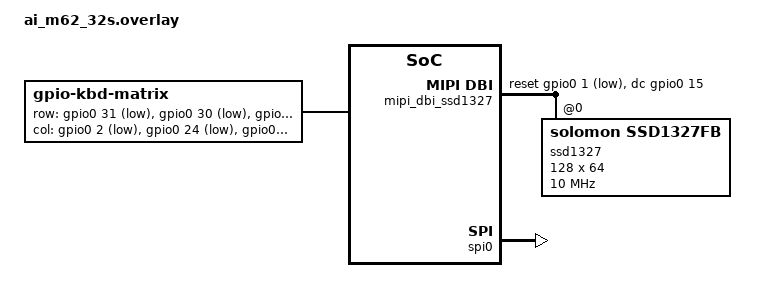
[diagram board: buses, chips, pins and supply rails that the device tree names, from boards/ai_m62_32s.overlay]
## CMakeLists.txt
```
cmake_minimum_required(VERSION 3.20.0)

find_package(Zephyr REQUIRED HINTS $ENV{ZEPHYR_BASE})
project(3d_game_template)

target_sources(app PRIVATE lib/L3.c lib/engine.c src/main.c)

zephyr_syscall_include_directories(include)

zephyr_include_directories(include)
zephyr_include_directories(lib)

zephyr_code_relocate(FILES
lib/L3.c
lib/engine.c
LOCATION RAM NOKEEP)
```

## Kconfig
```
config RESOLUTION_X
	int "Display Width"
	default 256

config RESOLUTION_Y
	int "Display Height"
	default 128

config TARGET_RENDER_FPS
	int "FPS of rendering"
	default 30

config TARGET_PROCESS_FPS
	int "FPS of processing logic"
	default 30

config LOG_PERFORMANCE
	bool "enable logging render times, this can cause render lag"
	default y

config MAX_OBJECTS
	int "Maximum amount of objects"
	default 512

config MAX_LIGHTS
	int "Maximum amount of object lights"
	default 16

rsource "lib/Kconfig"
```

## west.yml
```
manifest:
  remotes:
    - name: zephyrproject-rtos
      url-base: https://github.com/zephyrproject-rtos
    - name: VynDragon
      url-base: https://github.com/VynDragon

  projects:
    - name: zephyr
      remote: zephyrproject-rtos
      revision: main
      import:
        name-allowlist:
          - hal_bouffalolab
          - lvgl
          - cmsis
          - hal_rpi_pico
          - cmsis_6
          - hal_espressif
```

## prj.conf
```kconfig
CONFIG_DISPLAY=y
CONFIG_LOG=y
#CONFIG_LOG_DEFAULT_LEVEL=4
CONFIG_HEAP_MEM_POOL_SIZE=8192
CONFIG_INPUT=y
# PL3D needs a lot of stack! Trap on nrf52840 and pi pico
CONFIG_MAIN_STACK_SIZE=8192
CONFIG_TIMING_FUNCTIONS=y
CONFIG_SPEED_OPTIMIZATIONS=y
CONFIG_LOG_PERFORMANCE=y
CONFIG_TEST_RANDOM_GENERATOR=y
CONFIG_TIMER_RANDOM_GENERATOR=y
CONFIG_GPIO=y
```

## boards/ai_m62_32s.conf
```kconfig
CONFIG_TARGET_PROCESS_FPS=15
CONFIG_TARGET_RENDER_FPS=15
CONFIG_RESOLUTION_X=128
CONFIG_RESOLUTION_Y=64
```

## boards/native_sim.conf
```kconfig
CONFIG_SDL_DISPLAY_DEFAULT_PIXEL_FORMAT_L_8=y
CONFIG_SDL_DISPLAY_ZOOM_PCT=250
#CONFIG_SDL_DISPLAY_ZOOM_PCT=400
#CONFIG_SDL_DISPLAY_DEFAULT_PIXEL_FORMAT_RGB_565=y
CONFIG_RESOLUTION_X=1024
CONFIG_RESOLUTION_Y=768
CONFIG_TARGET_PROCESS_FPS=100
CONFIG_TARGET_RENDER_FPS=120
CONFIG_LOG_PERFORMANCE=n
```

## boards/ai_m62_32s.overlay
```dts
#include <zephyr/dt-bindings/input/keymap.h>

&clk_bclk {
	divider = <4>;
};

&clk_root {
	clocks = <&clk_wifipll BL61X_WIFIPLL_OC_480MHz>;
};

&clk_flash {
		clocks = <&clk_bclk>;
		// clock-invert;
		read-delay = <1>;
		divider = <1>;
		//rx-clock-invert;
};

#include <dt-bindings/pinctrl/bl616x-pinctrl.h>
#include <zephyr/dt-bindings/i2c/i2c.h>
#include <zephyr/dt-bindings/spi/spi.h>
/*
&pinctrl {
	i2c0_default: i2c0_default {
		group1 {
			pinmux = <GPIO14_I2C0_SCL>, <GPIO15_I2C0_SDA>;
			drive-strength = <2>;
			input-schmitt-enable;
		};
	};
};

&i2c0 {
	ssd1327: ssd1327@3c {
		compatible = "solomon,ssd1327fb";
		reg = <0x3c>;
		width = <128>;
		height = <96>;
		prechargep = <0xf>;
		remap-value = <0x53>;
		oscillator-freq = <0x92>;
		display-offset = <0x20>;
		start-line = <0>;
		multiplex-ratio = <0x05f>;
		phase-length = <0x1f>;
		status="okay";
	};
	status = "okay";

	pinctrl-0 = <&i2c0_default>;
	pinctrl-names = "default";
	clock-frequency = <I2C_BITRATE_FAST_PLUS>;
};
*/

&pinctrl {
	spi0_default: spi0_default {
		group1 {
			pinmux = <GPIO11_SPI_MOSI>, <GPIO14_SPI_MISO>, <GPIO13_SPI_SCLK>;
			drive-strength = <1>;
			input-schmitt-enable;
		};
	};
};

/ {

	mipi_dbi_ssd1327 {
		compatible = "zephyr,mipi-dbi-spi";
		spi-dev = <&spi0>;
		dc-gpios = <&gpio0 15 GPIO_ACTIVE_HIGH>;
		reset-gpios = <&gpio0 1 GPIO_ACTIVE_LOW>;
		write-only;
		#address-cells = <1>;
		#size-cells = <0>;

		ssd1327: ssd1327@0 {
			compatible = "solomon,ssd1327fb";
			mipi-max-frequency = <10000000>;
			reg = <0>;
			width = <128>;
			height = <64>;
			prechargep = <0xf>;
			precharge-voltage = <0x7>;
			remap-value = <0x53>;
			oscillator-freq = <0x00>;
			display-offset = <0x40>;
			start-line = <0>;
			multiplex-ratio = <0x3f>;
			phase-length = <0xf1>;
			mipi-mode = "MIPI_DBI_MODE_SPI_4WIRE";
		};
	};
};

&spi0 {
	status = "okay";
	cs-gpios = <&gpio0 20 GPIO_ACTIVE_LOW>;

	pinctrl-0 = <&spi0_default>;
	pinctrl-names = "default";
};


/ {
	chosen {
		zephyr,display = &ssd1327;
	};
};
&gpio0 {
	status = "okay";
};

/ {
	kbd-matrix {
		compatible = "gpio-kbd-matrix";
		row-gpios = <&gpio0 31 (GPIO_PULL_UP | GPIO_ACTIVE_LOW)>,
					<&gpio0 30 (GPIO_PULL_UP | GPIO_ACTIVE_LOW)>,
					<&gpio0 25 (GPIO_PULL_UP | GPIO_ACTIVE_LOW)>,
					<&gpio0 27 (GPIO_PULL_UP | GPIO_ACTIVE_LOW)>,
					<&gpio0 29 (GPIO_PULL_UP | GPIO_ACTIVE_LOW)>;
		col-gpios = <&gpio0 2 GPIO_ACTIVE_LOW>,
					<&gpio0 24 GPIO_ACTIVE_LOW>,
					<&gpio0 28 GPIO_ACTIVE_LOW>,
					<&gpio0 26 GPIO_ACTIVE_LOW>;
		keymap {
			compatible = "input-keymap";
			keymap = <
				MATRIX_KEY(3, 1, INPUT_KEY_W)
				MATRIX_KEY(4, 1, INPUT_KEY_S)
				MATRIX_KEY(4, 0, INPUT_KEY_A)
				MATRIX_KEY(4, 2, INPUT_KEY_D)
				MATRIX_KEY(3, 0, INPUT_KEY_LEFT)
				MATRIX_KEY(3, 2, INPUT_KEY_RIGHT)
				MATRIX_KEY(1, 3, INPUT_KEY_UP)
				MATRIX_KEY(2, 3, INPUT_KEY_DOWN)
				MATRIX_KEY(4, 3, INPUT_KEY_SPACE)
			>;
			row-size = <5>;
			col-size = <4>;
		};
	};
};
```

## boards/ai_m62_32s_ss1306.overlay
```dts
#include <zephyr/dt-bindings/input/keymap.h>

&clk_bclk {
	divider = <4>;
};

&clk_root {
	clocks = <&clk_wifipll BL61X_WIFIPLL_OC_480MHz>;
};

&clk_flash {
		clocks = <&clk_bclk>;
		// clock-invert;
		read-delay = <1>;
		divider = <1>;
		//rx-clock-invert;
};

#include <dt-bindings/pinctrl/bl616x-pinctrl.h>
#include <zephyr/dt-bindings/i2c/i2c.h>

&pinctrl {
	i2c0_default: i2c0_default {
		group1 {
			pinmux = <GPIO14_I2C0_SCL>, <GPIO15_I2C0_SDA>;
			drive-strength = <2>;
			input-schmitt-enable;
		};
	};
};

&i2c0 {
     ssd1315: ssd1315@3c {
		status = "okay";
		compatible = "solomon,ssd1306fb";
		reg = <0x3c>;
		width = <128>;
		height = <64>;
		segment-offset = <0>;
		page-offset = <0>;
		display-offset = <0>;
		multiplex-ratio = <63>;
		segment-remap;
		com-invdir;
		prechargep = <0x22>;
	};
	status = "okay";

	pinctrl-0 = <&i2c0_default>;
	pinctrl-names = "default";
	clock-frequency = <I2C_BITRATE_FAST_PLUS>;
};

/ {
	chosen {
		zephyr,display = &ssd1315;
	};
};
&gpio0 {
	status = "okay";
};

/ {
	kbd-matrix {
		compatible = "gpio-kbd-matrix";
		row-gpios = <&gpio0 31 (GPIO_PULL_UP | GPIO_ACTIVE_LOW)>,
					<&gpio0 30 (GPIO_PULL_UP | GPIO_ACTIVE_LOW)>,
					<&gpio0 25 (GPIO_PULL_UP | GPIO_ACTIVE_LOW)>,
					<&gpio0 27 (GPIO_PULL_UP | GPIO_ACTIVE_LOW)>,
					<&gpio0 29 (GPIO_PULL_UP | GPIO_ACTIVE_LOW)>;
		col-gpios = <&gpio0 2 GPIO_ACTIVE_LOW>,
					<&gpio0 24 GPIO_ACTIVE_LOW>,
					<&gpio0 28 GPIO_ACTIVE_LOW>,
					<&gpio0 26 GPIO_ACTIVE_LOW>;
		keymap {
			compatible = "input-keymap";
			keymap = <
				MATRIX_KEY(3, 1, INPUT_KEY_W)
				MATRIX_KEY(4, 1, INPUT_KEY_S)
				MATRIX_KEY(4, 0, INPUT_KEY_A)
				MATRIX_KEY(4, 2, INPUT_KEY_D)
				MATRIX_KEY(3, 0, INPUT_KEY_LEFT)
				MATRIX_KEY(3, 2, INPUT_KEY_RIGHT)
			>;
			row-size = <5>;
			col-size = <4>;
		};
	};
};
```

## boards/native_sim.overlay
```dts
&sdl_dc {
	compatible = "zephyr,sdl-dc";
	height = <512>;
	width = <1024>;
};

/ {
soc {
evdev {
  compatible = "zephyr,native-linux-evdev";
};
};
};
```

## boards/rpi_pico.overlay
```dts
/*

/ {
	chosen {
		zephyr,display = &ssd1363;
	};

};

&i2c0 {
	status = "okay";
	clock-frequency = <I2C_BITRATE_FAST_PLUS>;

	ssd1363: ssd1363@3c {
		compatible = "solomon,ssd1363";
		reg = <0x3c>;
		width = <256>;
		height = <128>;
		precharge-period = <0x8>;
		remap-value = <0x3200>;
		oscillator-freq = <0x30>;
		display-offset = <0x20>;
		column-offset = <32>;
		start-line = <0>;
		multiplex-ratio = <127>;
		phase-length = <0x74>;
		precharge-voltage = <0xc>;
		#greyscale-enhancement;
		greyscale-table = [02 04 05 06 07 08 09 0C 10 12 14 16 1E 24 2A];
		#inversion-on;
	};
};
*/

/ {
	chosen {
		zephyr,display = &ssd1322;
	};

};

/ {

	mipi_dbi_ssd1322 {
		compatible = "zephyr,mipi-dbi-spi";
		spi-dev = <&spi0>;
		dc-gpios = <&gpio0 21 GPIO_ACTIVE_HIGH>;
		reset-gpios = <&gpio0 20 GPIO_ACTIVE_LOW>;
		write-only;
		#address-cells = <1>;
		#size-cells = <0>;

		ssd1322: ssd1322@0 {
			compatible = "solomon,ssd1322";
			mipi-max-frequency = <10000000>;
			reg = <0>;
			oscillator-freq = <0x92>;
			width = <256>;
			height = <64>;
			column-offset=<28>;
			row-offset=<0>;
			start-line = <0>;
			mux-ratio = <63>;
			vcomh-voltage = <0x7>;
			precharge-voltage = <0x1e>;
			phase-length = <0xe2>;
			mipi-mode = "MIPI_DBI_MODE_SPI_4WIRE";
			remap-nibble;
			remap-columns;
			greyscale-enhancement;
		};
	};
};

&spi0 {
	status = "okay";
	//cs-gpios = <&gpio0 20 GPIO_ACTIVE_LOW>;
};
```

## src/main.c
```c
#include <zephyr/kernel.h>
#include <zephyr/device.h>
#include <zephyr/drivers/display.h>
#include <zephyr/input/input.h>
#include <zephyr/timing/timing.h>
#include <stdio.h>
#include <stdlib.h>
#include <zephyr/random/random.h>
#include <math.h>

#include <zephyr/logging/log.h>
LOG_MODULE_REGISTER(main);

#define ENGINE_BLIT_FUNCTION blit_display

#include "engine.h"

#include "demo.h"

static const struct device *display_device = DEVICE_DT_GET(DT_CHOSEN(zephyr_display));

int blit_display(L3_COLORTYPE *buffer, uint16_t size_x, uint16_t size_y)
{
	struct display_buffer_descriptor buf_desc;
	buf_desc.buf_size = size_x * size_y;
	//uint8_t buf[128] = {0};
	//buf_desc.buf_size = size_x * size_y / 8 / 8;
	buf_desc.width = size_x;
	buf_desc.height = size_y;
	buf_desc.pitch = size_x;

	/*for (int j = 0; j < size_y; j+= 8) {
		for (int i = 0; i < size_x; i++) {
			buf[i] = buffer[i + (j + 0) * size_x] > 128 ? buf[i] | 1<<0 : buf[i] & ~(1<<0);
			buf[i] = buffer[i + (j + 1) * size_x] > 128 ? buf[i] | 1<<1 : buf[i] & ~(1<<1);
			buf[i] = buffer[i + (j + 2) * size_x] > 128 ? buf[i] | 1<<2 : buf[i] & ~(1<<2);
			buf[i] = buffer[i + (j + 3) * size_x] > 128 ? buf[i] | 1<<3 : buf[i] & ~(1<<3);
			buf[i] = buffer[i + (j + 4) * size_x] > 128 ? buf[i] | 1<<4 : buf[i] & ~(1<<4);
			buf[i] = buffer[i + (j + 5) * size_x] > 128 ? buf[i] | 1<<5 : buf[i] & ~(1<<5);
			buf[i] = buffer[i + (j + 6) * size_x] > 128 ? buf[i] | 1<<6 : buf[i] & ~(1<<6);
			buf[i] = buffer[i + (j + 7) * size_x] > 128 ? buf[i] | 1<<7 : buf[i] & ~(1<<7);
		}
		display_write(display_device, 0, j, &buf_desc, buf);
	}*/



	display_write(display_device, 0, 0, &buf_desc, buffer);
	return 0;
}

static int flip = 1;
void do_move(Engine_Object *self, void* data) {
	self->visual.transform.translation.z += *(int*)data;
	if (self->visual.transform.translation.z > 200)
		*(int*)data = -*(int*)data;
	if (self->visual.transform.translation.z < 64)
		*(int*)data = -*(int*)data;
}

static void do_rotate_1(Engine_Object *self, void *data) {
	self->visual.transform.rotation.y += 1;
}

static void do_rotate_2(Engine_Object *self, void *data) {
	self->visual.transform.rotation.x += 1;
}

static void do_rotate_3(Engine_Object *self, void *data) {
	self->visual.transform.rotation.z += 1;
}

typedef struct {
	L3_Unit vx;
	L3_Unit vy;
	L3_Unit z;
	L3_Unit x;
	L3_Unit jump;
} Controls;

static Engine_Object* player = 0;
static L3_Vec4 player_colpoint[2] = {{.x = 0, .y = 0, .z = 0, .w = L3_F }, {.x = 0, .y = L3_F, .z = 0, .w = L3_F }};
static Controls controls = {0};
static E_Collider collider_test[7][1] = {0};
static Engine_Collisions collision_test[7] = {0};

static void process() {
	if (player != 0) {
		player->visual.transform.rotation.y += controls.vy;
		player->visual.transform.rotation.x += controls.vx;
		L3_Unit x = (controls.z * L3_cos(player->visual.transform.rotation.y + L3_F/4)) / L3_F;
		L3_Unit z = (controls.z * L3_sin(player->visual.transform.rotation.y + L3_F/4)) / L3_F;
		x -= (controls.x * L3_cos(player->visual.transform.rotation.y)) / L3_F;
		z -= (controls.x * L3_sin(player->visual.transform.rotation.y)) / L3_F;


		engine_dynamic_objects[0].physics.speeds.translation.z += z;
		engine_dynamic_objects[0].physics.speeds.translation.x += x;
		engine_dynamic_objects[0].physics.speeds.translation.x *= 0.85;
		engine_dynamic_objects[0].physics.speeds.translation.z *= 0.85;
		engine_dynamic_objects[0].physics.speeds.translation.y *= 0.95;
		//engine_dynamic_objects[0].physics.speeds.translation.x -= 1;
		//player->visual.transform.translation.z += z;
		//player->visual.transform.translation.x += x;
		engine_dynamic_objects[0].physics.speeds.translation.y -= E_SPEED(5*L3_F);

		engine_dynamic_objects[0].physics.speeds.translation.y += controls.jump;

		L3_Camera *camera = engine_getcamera();
		camera->transform = player->visual.transform;
		camera->transform.translation.y += L3_F;
		//printf("ppos: %d, %d, %d\n", player->visual.transform.translation.x, player->visual.transform.translation.y, player->visual.transform.translation.z);
	}
}

static void update_controls(struct input_event *evt, void *user_data)
{
	Controls *cont = user_data;

	if (evt->code == INPUT_KEY_UP) {
		if (evt->value)
			cont->vx = 5;
		else
			cont->vx = 0;
	} else if (evt->code == INPUT_KEY_DOWN) {
		if (evt->value)
			cont->vx = -5;
		else
			cont->vx = 0;
	}
	if (evt->code == INPUT_KEY_LEFT) {
		if (evt->value)
			cont->vy = 15;
		else
			cont->vy = 0;
	} else if (evt->code == INPUT_KEY_RIGHT) {
		if (evt->value)
			cont->vy = -15;
		else
			cont->vy = 0;
	}
	if (evt->code == INPUT_KEY_W) {
		if (evt->value)
			cont->z = E_SPEED(3*L3_F);
		else
			cont->z = 0;
	} else if (evt->code == INPUT_KEY_S) {
		if (evt->value)
			cont->z = -E_SPEED(3*L3_F);
		else
			cont->z = 0;
	}

	if (evt->code == INPUT_KEY_A) {
		if (evt->value)
			cont->x = E_SPEED(3*L3_F);
		else
			cont->x = 0;
	} else if (evt->code == INPUT_KEY_D) {
		if (evt->value)
			cont->x = -E_SPEED(3*L3_F);
		else
			cont->x = 0;
	}

	if (evt->code == INPUT_KEY_SPACE) {
		if (evt->value)
			cont->jump = E_SPEED(15*L3_F);
		else
			cont->jump = 0;
	}
}

INPUT_CALLBACK_DEFINE(0, update_controls, &controls);

int main()
{
	if (!device_is_ready(display_device)) {
		printf("Display device not ready");
		return 0;
	}

	timing_init();
	timing_start();

	k_msleep(100);
	display_blanking_on(display_device);
	//display_set_pixel_format(display_device, PIXEL_FORMAT_L_8);
	display_blanking_off(display_device);

	init_engine(&process);

	/* 'player' object */
	Engine_Object tmp = {0};
	L3_transform3DSet(5 * L3_F,0,0,0,-80,0,L3_F,L3_F,L3_F,&(tmp.visual.transform));
	tmp.view_range = 16 * L3_F;
	tmp.visual_type = ENGINE_VISUAL_NOTHING;
	player = engine_add_object(tmp);
	engine_dynamic_objects[0].object = player;
	engine_dynamic_objects[0].physics.transform = &(player->visual.transform);
	engine_dynamic_objects[0].physics.last_transform = player->visual.transform;
	engine_dynamic_objects_count = 1;
	engine_dynamic_objects[0].physics.pointOffsetsCount = 2;
	engine_dynamic_objects[0].physics.pointOffsets = player_colpoint;

	engine_set_statics(demo_scene, sizeof(demo_scene) / sizeof(*demo_scene));
	engine_statics_enabled(true);

	/*for (int i = 0; i < 1000; i++) {
		tmp.visual = cat;
		int x, y, z;
		x = sys_rand8_get() / 4 - 32;
		y = sys_rand8_get() / 8 - 16;
		z = sys_rand8_get() / 4 - 32;
		L3_transform3DSet(x*L3_F,y*L3_F,z*L3_F,0,0,0,L3_F,L3_F,L3_F,&(tmp.visual.transform));
		tmp.view_range = 50 * L3_F;
		tmp.visual_type = ENGINE_VISUAL_BILLBOARD;
		tmp.process = 0;
		engine_add_object(tmp);
	}*/
/*
#define aG 45
	for (int i = 0; i < aG; i++) {
		for (int j = 0; j < aG; j++) {
			tmp.visual = building_01;
			tmp.visual.config.visible = L3_VISIBLE_TEXTURED;
			int x, y, z;
			x = -200 + i * 30;
			y = 180;
			z = -200 + j * 30;
			L3_transform3DSet(x*L3_F,y,z*L3_F,0,0,0,L3_F,L3_F,L3_F,&(tmp.visual.transform));
			tmp.view_range = 70 * L3_F;
			tmp.visual_type = ENGINE_VISUAL_MODEL;
			tmp.process = 0;
			engine_add_object(tmp);
		}
	}/*

	printf("obj cnt: %d\n", engine_object_getcnt() + engine_statics_getcnt());

	return 0;
}
```

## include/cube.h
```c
#pragma once
static const L3_Unit cube_vertices[] = {
256,256,-256,
256,-256,-256,
256,256,256,
256,-256,256,
-256,256,-256,
-256,-256,-256,
-256,256,256,
-256,-256,256,
};
static const L3_Index cube_indexes[] = {
4, 2, 0,
2, 7, 3,
6, 5, 7,
1, 7, 5,
0, 3, 1,
4, 1, 5,
4, 6, 2,
2, 6, 7,
6, 4, 5,
1, 3, 7,
0, 2, 3,
4, 0, 1,
};
static const L3_Model3D cube_model = {
.vertices = cube_vertices,
.triangleCount = 12,
.vertexCount = 8,
.triangles = cube_indexes,
};
static const L3_Object cube = {
.transform.scale.x = L3_F,
.transform.scale.y = L3_F,
.transform.scale.z = L3_F,
.transform.scale.w = 0,
.transform.translation.x = 0,
.transform.translation.y = 0,
.transform.translation.z = 0,
.transform.translation.w = L3_F,
.transform.rotation.x = 0,
.transform.rotation.y = 0,
.transform.rotation.z = 0,
.transform.rotation.w = L3_F,
.config.backfaceCulling = 1,
.config.visible = L3_VISIBLE_DISTANCELIGHT | L3_VISIBLE_SOLID | L3_VISIBLE_WIREFRAME,
.model = &cube_model,
};
```

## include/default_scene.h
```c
#pragma once

extern Engine_Scene default_scene;

typedef struct {
	L3_Unit vx;
	L3_Unit vy;
	L3_Unit z;
	L3_Unit x;
	L3_Unit jump;
} Controls;

struct Default_scene_data {
	Engine_Object *player;
	L3_Unit		player_xrot;
	Controls	controls;
};
```

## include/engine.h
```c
/*
* APACHE 2
*/


#pragma once

#include "L3.h"

#ifndef DT_ZEPHYR_DISPLAYS_COUNT
#define DT_ZEPHYR_DISPLAYS_COUNT 1
#endif

#define ENGINE_BLIT_FUNCTION blit_display
int ENGINE_BLIT_FUNCTION(L3_COLORTYPE *buffer, uint16_t x, uint16_t y, uint16_t size_x, uint16_t size_y);

#define E_SPEED(speed) (speed / CONFIG_TARGET_PROCESS_FPS)
/* returns a lifespan from value in seconds */
#define E_LIFESPAN(lifespan) (lifespan * CONFIG_TARGET_PROCESS_FPS)

#define ENGINE_VISUAL_UNUSED	0
#define ENGINE_VISUAL_NOTHING	1
#define ENGINE_VISUAL_MODEL	2
#define ENGINE_VISUAL_BILLBOARD	3
#define ENGINE_VISUAL_LIGHT	4

#define ENGINE_MAX_COLLIDERS	 0xFF
#define ENGINE_MAX_DOBJECTS	0xF
#define ENGINE_MAX_PARTICLES	0x100
#define ENGINE_MAX_FILTERS	16

/* do product to determine if object is behind camera limit */
#define ENGINE_REAR_OBJECT_CUTOFF 8 * L3_F

#if DT_ZEPHYR_DISPLAYS_COUNT > 1
#warning UI Display may end up being wrong, display > 1
#endif

typedef struct Engine_Object_s Engine_Object;
typedef struct E_Particle_s E_Particle;
typedef struct Engine_Scene_s Engine_Scene;

/* functions ran each tick for associated object */
typedef void (*Engine_Object_pf)(Engine_Object *self, void * data);
/* functions ran each tick for associated particle */
typedef void (*Engine_Particle_pf)(E_Particle *self);
/* function ran each tick for scene*/
typedef void (*Engine_Scene_pf)(Engine_Scene *self);
/* function ran each tick engine */
typedef void (*Engine_pf)(void);

/* function to initialize a scene (spawn dynamic objects etc) */
typedef void (*Engine_Scene_inf)(Engine_Scene *data);
/* function to deinitialize a scene, may be absent */
typedef void (*Engine_Scene_dif)(Engine_Scene *data);

/* function given each pixel in buffer every frame, z stuffs might be nil,
 * function allowed to browse pixels before and after the one it was given
 * function expected to edit the c and z as well
 */
typedef struct Filterable_Pixel_s Filterable_Pixel;
typedef void (*Filter_f)(Filterable_Pixel *p, void *data);
typedef struct Filterable_Pixel_s {
	uint16_t	x;
	uint16_t	y;
	L3_COLORTYPE	*vpx;
	L3_ZBUFTYPE	*zpx;
	L3_COLORTYPE	*vbuf;
	L3_ZBUFTYPE	*zbuf;
	uint16_t	size_x;
	uint16_t	size_y;
} Filterable_Pixel;

void filter_apply(uint16_t x, uint16_t y, uint16_t size_x, uint16_t size_y, Filter_f filter, void *data);
void filter_apply_all(uint16_t x, uint16_t y, uint16_t size_x, uint16_t size_y, const Filter_f *filters, size_t len, void *data);

/* Basic cuboid collider */
typedef struct E_C_Cuboid_s {
	L3_Vec4	offset;
	L3_Vec4 size;
	L3_Unit	bouncyness;
} E_C_Cuboid;

/* Basic Sphere collider */
typedef struct E_C_Sphere_s {
	L3_Vec4	offset;
	L3_Unit size;
	L3_Unit	bouncyness;
} E_C_Sphere;

/* Sphere but differnet x/y/z sizes */
typedef struct E_C_Capsule_s {
	L3_Vec4	offset;
	L3_Vec4 size;
	L3_Unit	bouncyness;
} E_C_Capsule;

/* Basic plane aligned in axis, useful for absolute walls (ground, ceiling)*/
typedef struct E_C_AxisPlane_s {
	L3_Vec4	offset;
	/* axis size define direction */
	L3_Vec4	size;
	L3_Unit	bouncyness;
	/* determine if we need to be >= than its limit for it to affect */
	bool	traverseable;
} E_C_AxisPlane;

typedef struct E_C_Terrain_s {
	const L3_Vec4	*points;
	size_t		points_cnt;
	L3_Unit		bouncyness;
	/* determine if we need to be >= than its limit for it to affect */
	bool		traverseable;
} E_C_Terrain;

#define ENGINE_COLLIDER_NOTHING	0
#define ENGINE_COLLIDER_CUBE	1
#define ENGINE_COLLIDER_SPHERE	2
#define ENGINE_COLLIDER_CAPSULE	3
#define ENGINE_COLLIDER_APLANEX	4
#define ENGINE_COLLIDER_APLANEY	5
#define ENGINE_COLLIDER_APLANEZ	6
#define ENGINE_COLLIDER_TERRAIN	7

typedef struct E_Collider_s {
	union {
		E_C_Cuboid	cube;
		E_C_Sphere	sphere;
		E_C_Capsule	capsule;
		E_C_AxisPlane	axisplane;
		E_C_Terrain	terrain;
	};
	uint8_t			type;
} E_Collider;

typedef struct Engine_Physics_s {
	/* pointer to visual's transform */
	L3_Transform3D	*transform;
	L3_Transform3D	speeds;
	L3_Transform3D	last_transform;
	/* points to check collisions against, if 0, use transform */
	L3_Vec4		*pointOffsets;
	uint8_t		pointOffsetsCount;
} Engine_Physics;

typedef struct Engine_Collisions_s {
	/* Collider table */
	const E_Collider	*colliders;
	uint8_t			colliderCount;
} Engine_Collisions;

typedef struct Engine_Object_s {
	L3_Object		visual;
	uint8_t			visual_type;
	L3_Unit			view_range;
	Engine_Object_pf	process;
	void			*data;
	const Engine_Collisions	*collisions;
} Engine_Object;

typedef struct Engine_DObject_s {
	Engine_Object		*object;
	Engine_Physics		physics;
} Engine_DObject;

typedef struct E_Particle_s {
	L3_Transform3D		transform;
	const L3_Billboard	*billboard;
	Engine_Particle_pf	process;
	uint32_t		life;
} E_Particle;

typedef struct Engine_Scene_s {
	Engine_Scene_pf		pf;
	const Engine_Object	*statics;
	size_t			statics_count;
	Engine_Scene_inf	inf;
	Engine_Scene_dif	dif;
	const Filter_f		*filters;
	size_t			filters_count;
	L3_Skybox		*skybox;
	void			*data;
} Engine_Scene;

int init_engine(Engine_pf pf);

int init_engine_UI(void);

int engine_render_UI(void);

int engine_render_hook(void);

void engine_UI_set_area(int32_t x, int32_t y, int32_t w, int32_t h);

/* add object to object list, returns pointer to the instance in the table
 */
Engine_Object *engine_add_object(Engine_Object object);

/* remove the object (simply mark object unused)
 */
int engine_remove_object(Engine_Object *object);

/* moves object around to clean up table and improve performance
 * INVALIDATES ALL add_object REFERENCES!
 */
int engine_optimize_object_table(void);

size_t engine_object_getcnt(void);

Engine_Object *engine_getobjects(void);

size_t engine_statics_getcnt(void);

L3_Camera *engine_getcamera(void);

/* remove all objects (object_cnt = cnt) */
int engine_remove_all_objects_past(int cnt);

/* Scene Management */
Engine_Scene *engine_getscene(void);
/* Blank slate the engine scene */
int	engine_cleanscene(void);
/* Load scene as the engine scene */
int	engine_initscene(Engine_Scene *scene);
/* Blank engine scene then load scene as the engine scene */
int	engine_switchscene(Engine_Scene *scene);
/* Set processing FPS */
void engine_set_process_fps(uint32_t fps);

/* Add filter */
void engine_append_filter(Filter_f filter);
/* Remove last added filter */
void engine_pop_filter(void);
/* Remove all filters */
void engine_no_filters(void);


/* sets const renderlist, can be from XIP */
void engine_set_statics(const Engine_Object *objects, uint32_t count);
/* enable or disable rendering statics set */
void engine_statics_enabled(bool yes);

extern Engine_DObject engine_dynamic_objects[ENGINE_MAX_DOBJECTS];
extern uint32_t engine_dynamic_objects_count;
extern const struct device *engine_display_devices[DT_ZEPHYR_DISPLAYS_COUNT];
extern uint32_t engine_drawnTriangles;
extern float engine_rFPS;
extern uint64_t engine_target_process_fps;

E_Particle *engine_create_particle(L3_Transform3D transform, Engine_Particle_pf process, const L3_Billboard *billboard, uint32_t lifespan);
/* Run one tick of particles */
void engine_preload_particles(void);
```

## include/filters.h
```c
#pragma once

void filter_blur(Filterable_Pixel *p, void *data);
void filter_fixgap(Filterable_Pixel *p, void *data);
void filter_pixelize_2(Filterable_Pixel *p, void *data);
void filter_pixelize_4(Filterable_Pixel *p, void *data);
void filter_pixelize_6(Filterable_Pixel *p, void *data);
void filter_pixelize_8(Filterable_Pixel *p, void *data);
void filter_bloom(Filterable_Pixel *p, void *data);
void filter_star_bloom_6(Filterable_Pixel *p, void *data);
void filter_star_bloom_3(Filterable_Pixel *p, void *data);
```

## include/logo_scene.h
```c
#pragma once

extern Engine_Scene logo_scene;
```

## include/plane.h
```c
#pragma once
static const L3_Unit plane_vertices[] = {
-256,0,256,
256,0,256,
-256,0,-256,
256,0,-256,
};
static const L3_Index plane_indexes[] = {
1, 2, 0,
1, 3, 2,
};
static const L3_Model3D plane_model = {
.vertices = plane_vertices,
.triangleCount = 2,
.vertexCount = 4,
.triangles = plane_indexes,
};
static const L3_Object plane = {
.transform.scale.x = L3_F,
.transform.scale.y = L3_F,
.transform.scale.z = L3_F,
.transform.scale.w = 0,
.transform.translation.x = 0,
.transform.translation.y = 0,
.transform.translation.z = 0,
.transform.translation.w = L3_F,
.transform.rotation.x = 0,
.transform.rotation.y = 0,
.transform.rotation.z = 0,
.transform.rotation.w = L3_F,
.config.backfaceCulling = 0,
.config.visible = L3_VISIBLE_WIREFRAME,
.model = &plane_model,
};
```

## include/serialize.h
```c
#pragma once

int serialize_objects(char *buffer, size_t buflen);

int deserialize_objects(char *buffer, size_t buflen);
```

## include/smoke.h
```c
static const L3_Unit smoke_texture[4096] = {
8,5,3,1,1,0,0,0,0,0,0,0,0,0,0,0,0,0,0,0,0,0,0,0,0,0,0,0,0,0,0,1,0,0,0,1,0,0,0,1,1,1,1,0,0,0,0,0,0,0,0,0,0,0,0,0,0,0,0,0,0,1,2,2,4,2,1,0,0,0,0,0,0,0,0,0,0,0,0,0,0,0,0,0,0,0,0,0,0,1,1,2,3,1,1,1,1,1,1,1,1,1,1,2,2,1,1,1,0,0,0,0,0,0,0,0,0,0,0,0,0,0,0,0,0,0,1,1,1,0,0,0,0,0,0,0,0,0,0,0,0,0,0,0,0,1,5,5,1,0,0,1,2,2,3,10,15,11,7,4,4,4,4,4,4,4,4,4,4,3,2,1,1,0,0,0,0,0,0,0,0,0,0,0,0,0,0,0,0,0,0,0,0,0,0,0,0,0,0,0,0,0,0,0,0,0,0,0,2,8,14,13,6,2,1,3,4,6,8,19,30,27,21,14,11,9,9,9,9,9,10,9,8,7,5,3,1,0,0,0,0,0,0,0,0,0,0,0,0,0,0,0,0,0,0,0,0,0,0,0,0,0,0,0,0,0,0,0,0,0,0,0,6,20,28,24,11,9,6,7,10,13,17,27,43,44,36,26,23,20,17,16,15,15,15,15,13,11,8,5,2,1,0,0,0,0,0,0,0,0,0,0,0,0,0,0,0,0,0,0,0,0,0,0,0,0,0,0,0,0,0,0,0,0,0,2,11,30,37,37,20,15,15,16,20,25,28,34,52,55,46,37,34,33,32,30,28,27,26,25,22,19,14,9,5,2,1,0,0,0,0,0,0,0,0,0,0,0,0,0,0,0,0,0,0,0,0,0,0,0,0,0,0,0,0,0,0,0,0,5,14,28,42,43,37,28,25,25,30,35,40,45,57,64,54,45,44,43,43,43,42,42,41,39,36,32,26,17,9,4,2,0,0,0,0,0,0,0,0,0,0,0,0,0,0,0,0,0,0,0,0,0,0,0,0,0,0,0,0,0,1,1,2,7,16,26,37,47,51,48,43,41,42,45,57,61,63,70,64,54,53,53,56,61,67,69,66,58,50,43,36,29,19,9,4,2,1,0,0,0,0,0,0,0,0,0,0,0,0,0,0,0,0,0,0,0,0,0,0,0,1,1,2,2,4,5,7,11,18,25,33,51,59,58,59,61,62,65,74,80,77,77,77,76,86,86,83,84,83,78,77,76,67,55,47,38,31,20,9,4,2,1,0,0,0,0,0,0,0,0,0,0,0,0,0,0,0,0,0,0,0,0,0,0,1,3,4,6,9,11,14,19,23,28,37,56,74,73,71,72,76,87,89,94,92,90,89,101,112,110,102,94,89,83,79,80,83,73,57,50,44,32,19,10,5,2,1,0,0,0,0,0,0,0,0,0,0,0,0,0,0,0,0,0,0,0,0,1,4,6,9,12,15,19,24,27,33,41,51,62,78,93,92,86,85,101,101,102,104,105,103,110,117,118,112,105,101,96,91,88,84,79,69,59,56,44,29,19,9,5,2,1,0,0,0,0,0,0,0,0,0,0,0,0,0,0,0,0,0,0,2,3,7,11,16,20,25,32,38,41,47,55,65,73,81,98,107,103,101,114,111,111,113,116,113,117,120,125,123,112,105,100,99,98,89,81,76,64,57,49,38,29,18,10,5,2,1,1,0,0,0,0,0,0,0,0,0,0,0,0,0,0,0,1,3,7,16,22,27,39,52,61,64,66,67,72,80,85,89,100,112,115,117,124,120,116,117,121,121,126,128,127,121,113,107,103,102,99,93,87,80,74,62,53,47,35,26,19,11,6,3,1,0,0,0,0,0,0,0,0,0,0,0,0,0,0,0,1,4,14,26,39,56,67,77,82,87,93,95,91,91,95,97,105,114,119,126,128,126,122,122,126,128,130,130,127,120,113,108,104,104,100,96,93,88,83,74,65,55,41,35,29,21,15,8,3,2,1,0,0,0,0,0,0,0,0,0,0,0,0,1,2,6,19,36,60,90,92,94,98,103,106,109,108,102,102,105,110,115,121,129,130,129,126,124,129,133,132,131,126,119,113,110,108,106,105,99,98,95,91,84,76,63,49,42,35,30,24,16,8,4,2,1,0,0,0,0,0,0,0,0,0,0,0,1,2,9,22,45,70,97,105,109,109,110,112,115,116,113,111,112,114,116,122,128,130,131,129,126,128,132,132,128,123,117,114,112,112,109,107,103,104,102,98,93,88,77,63,51,43,37,30,23,13,8,4,2,1,0,0,0,0,0,0,0,0,0,0,1,3,12,25,50,78,94,107,111,111,113,116,118,121,120,116,116,116,117,121,125,130,130,129,126,127,130,128,125,121,117,114,114,114,114,112,109,109,106,102,100,98,93,80,65,53,44,37,30,20,13,9,5,3,1,1,0,0,0,0,0,0,0,0,1,4,15,30,57,81,103,110,112,113,115,119,122,123,123,120,118,117,117,121,126,129,128,126,126,126,125,123,121,118,115,114,116,118,118,116,114,114,109,107,108,107,98,86,79,69,59,49,37,28,21,15,10,7,4,2,1,1,1,1,0,0,0,0,1,7,19,40,61,86,106,108,112,114,117,119,122,124,124,122,120,117,117,122,127,129,128,127,126,124,121,119,118,116,116,115,118,122,121,120,120,115,114,117,115,112,103,95,90,85,77,62,48,37,30,23,17,12,9,6,5,4,3,3,0,0,0,0,1,10,23,47,66,93,104,107,114,118,120,121,123,124,124,123,121,120,120,124,127,130,128,128,126,122,119,118,116,117,116,117,120,123,125,124,121,120,121,122,121,119,117,111,102,94,86,75,63,49,39,33,27,22,17,13,10,8,6,5,0,0,0,0,2,11,26,44,67,93,102,108,115,121,122,123,124,125,124,123,122,123,122,125,128,129,128,128,125,120,119,118,118,118,117,117,121,123,128,127,124,125,128,127,126,125,124,121,113,105,96,89,82,73,62,51,40,32,27,23,17,12,9,6,0,0,0,0,2,7,18,37,64,90,102,111,119,125,126,124,124,123,122,122,122,122,123,125,128,130,127,126,125,121,119,120,119,120,120,120,124,126,129,129,130,133,135,133,130,127,126,124,120,117,111,106,99,92,84,74,60,48,39,31,24,16,11,7,0,0,0,0,2,7,18,38,64,88,105,115,124,130,131,127,125,123,121,121,121,121,122,123,128,130,127,127,126,124,122,121,123,124,124,125,127,129,132,136,137,138,139,136,132,129,126,123,122,120,116,109,104,97,91,82,72,63,53,41,29,19,11,6,0,0,0,0,2,9,18,29,58,91,111,121,128,133,133,132,126,122,122,120,121,120,120,121,126,130,129,130,130,129,125,124,126,127,128,129,131,131,133,138,142,140,139,137,134,131,128,125,121,120,116,111,105,99,93,87,79,71,63,51,34,20,11,6,0,0,0,0,3,10,17,26,58,100,119,127,133,135,134,133,129,123,121,123,122,123,122,121,126,130,129,135,135,132,129,127,129,130,132,133,135,136,135,137,140,141,138,134,131,127,126,125,121,118,115,109,105,101,95,89,83,75,66,53,37,21,10,5,0,0,0,0,3,10,18,26,47,90,124,130,133,133,133,132,131,127,123,125,128,128,127,125,130,131,133,139,138,135,132,130,132,134,135,134,137,138,139,139,139,139,139,136,133,130,127,125,122,120,116,112,106,102,98,93,84,77,69,55,38,21,10,4,0,0,0,0,3,9,18,34,63,97,116,125,130,131,131,131,129,128,128,128,131,130,130,131,135,134,138,142,141,139,134,132,135,137,136,136,135,138,141,142,141,139,140,138,135,131,128,127,125,123,119,116,111,104,101,96,89,79,70,57,41,21,9,4,0,0,0,1,4,11,23,48,81,103,116,124,128,130,129,130,129,129,129,132,135,135,135,135,138,139,143,144,142,140,136,135,135,137,137,136,137,137,140,142,142,143,142,137,134,131,130,129,126,125,121,119,115,108,103,100,93,82,70,58,41,21,9,4,0,0,0,1,5,14,31,62,90,109,119,126,129,131,129,129,130,129,131,133,139,139,139,138,140,143,143,141,140,140,137,136,137,137,137,136,138,138,137,136,138,139,138,134,131,131,131,131,131,127,122,121,119,114,106,103,96,86,71,58,41,21,9,4,0,0,0,2,8,21,47,67,91,110,121,127,130,131,130,132,132,131,133,133,139,141,139,139,140,143,143,139,137,139,135,137,139,139,139,137,140,139,136,134,132,131,130,130,130,129,132,132,133,135,132,125,122,119,111,106,100,90,73,56,39,20,8,3,0,0,0,4,13,32,54,69,92,112,122,128,130,131,132,133,134,133,133,132,133,136,137,138,139,141,142,139,137,136,133,138,140,139,139,137,139,138,136,133,130,127,124,123,124,125,127,132,134,138,140,132,123,120,115,109,100,90,74,53,37,20,8,3,0,0,1,6,16,39,58,77,99,113,123,129,130,131,132,133,133,132,130,128,129,131,136,137,137,140,142,140,136,135,132,136,140,138,138,139,138,134,134,131,127,124,120,117,118,119,123,128,133,137,137,134,129,126,118,110,97,89,71,50,35,18,8,3,0,0,2,9,22,43,62,83,102,114,124,130,128,129,130,131,131,130,127,125,127,128,133,134,136,140,140,140,137,138,137,137,139,136,136,138,138,133,131,130,125,119,116,114,113,115,121,129,135,137,133,130,129,129,122,112,94,85,67,48,33,17,7,3,0,0,2,12,29,48,68,87,104,115,126,130,124,125,126,126,127,127,126,126,125,124,129,133,133,136,142,142,140,142,142,140,138,135,134,135,135,134,131,129,123,119,116,114,113,116,123,134,139,134,129,127,126,126,123,111,91,79,62,46,31,16,6,2,0,1,3,17,34,48,70,91,106,117,127,131,125,123,124,124,124,125,124,125,124,122,125,130,129,128,138,144,144,147,144,140,137,132,129,129,131,131,131,127,124,122,121,119,117,119,126,138,139,130,126,124,121,122,120,112,88,74,58,43,29,15,6,2,0,1,4,21,37,53,73,92,106,118,128,132,128,122,120,121,121,121,123,122,121,121,124,125,127,125,129,139,144,144,145,143,136,128,124,124,126,128,128,126,125,124,124,123,121,123,129,138,139,129,124,120,116,117,121,114,90,69,55,41,28,13,4,2,0,1,7,22,42,62,75,87,102,115,126,131,131,127,121,119,119,120,122,120,119,119,118,116,115,121,127,136,141,140,141,143,138,129,123,121,123,126,127,125,124,125,126,125,125,126,128,134,136,127,119,117,113,114,125,113,92,68,53,41,27,12,3,1,0,1,7,23,40,60,74,85,97,110,120,129,130,130,128,123,119,121,120,119,119,118,116,113,111,115,125,135,141,138,134,135,137,131,124,120,122,124,126,125,124,126,128,128,127,125,126,131,131,123,119,117,111,108,119,119,101,74,54,40,25,10,3,1,0,1,8,24,39,52,69,83,94,104,112,123,128,128,129,129,128,125,122,120,118,116,115,112,110,117,127,136,141,136,131,132,135,134,127,122,120,123,125,125,125,126,125,127,127,125,125,130,129,121,120,116,109,104,107,107,95,73,53,38,23,8,2,1,0,1,6,24,37,46,58,74,88,99,106,111,119,124,128,132,133,131,128,124,121,119,119,114,110,118,129,135,138,139,136,134,134,135,131,126,122,122,123,124,125,125,123,124,125,126,126,129,128,120,120,117,110,102,98,97,87,71,53,35,19,6,2,1,0,1,4,20,33,43,54,67,81,93,101,104,108,117,123,130,134,133,130,128,126,122,121,117,112,116,126,134,139,143,139,134,133,135,133,130,126,123,123,122,121,122,121,119,120,123,127,127,129,123,120,117,113,104,95,91,82,67,50,29,13,4,1,0,0,1,3,18,33,42,52,64,76,86,94,97,99,107,116,123,129,133,132,129,129,127,125,120,113,117,125,131,141,147,141,135,131,131,131,130,128,124,123,122,121,120,119,118,119,123,127,128,128,128,120,119,115,109,98,88,77,59,40,21,8,3,1,0,0,0,2,13,26,36,46,60,71,79,85,87,92,99,107,115,124,130,132,132,131,130,128,123,117,118,122,127,140,145,142,137,132,130,132,132,130,125,124,122,121,121,120,119,121,124,127,130,129,130,121,120,117,111,102,90,76,56,35,16,5,1,0,0,0,0,1,9,21,29,40,54,61,69,74,77,81,90,98,106,116,124,129,132,131,132,131,127,118,113,121,134,139,139,139,135,131,130,132,132,129,126,125,123,121,120,119,120,121,124,127,131,131,130,122,118,119,114,106,91,77,59,33,13,3,1,0,0,0,0,0,3,11,19,31,42,47,53,60,63,69,79,90,98,108,116,125,131,132,131,132,130,123,114,124,132,132,133,134,132,130,129,131,132,128,125,123,122,120,118,118,120,121,123,127,130,130,126,122,115,117,115,109,93,76,56,30,10,2,0,0,0,0,0,0,0,4,8,14,23,31,39,44,49,58,69,83,91,101,111,119,127,131,131,132,132,126,124,125,125,125,130,130,128,127,127,130,130,125,121,121,119,117,117,117,118,120,121,123,126,126,123,120,113,112,111,108,98,73,42,20,5,1,0,0,0,0,0,0,0,1,4,9,13,18,25,29,34,43,51,67,79,94,106,115,125,131,132,133,131,125,121,118,119,122,125,124,123,123,127,128,125,123,119,116,113,111,112,113,115,118,118,119,121,123,121,116,109,105,106,102,92,67,34,12,3,1,0,0,0,0,0,0,0,0,0,5,10,11,12,14,19,26,35,48,65,84,100,111,121,128,129,128,128,124,118,113,116,120,121,121,118,123,126,124,121,120,115,111,106,104,105,108,114,118,118,118,120,119,115,108,99,96,101,97,82,54,26,8,2,1,0,0,0,0,0,0,0,0,0,0,3,6,6,7,10,14,22,34,51,69,90,106,117,124,126,126,127,123,115,114,114,117,118,116,117,123,124,121,120,116,111,105,103,103,103,109,116,120,120,119,119,114,108,100,93,88,94,91,69,39,17,5,1,0,0,0,0,0,0,0,0,0,0,0,0,2,3,4,5,7,13,23,36,54,79,95,108,117,122,126,127,119,116,119,116,116,117,116,121,124,123,119,114,111,108,105,103,102,105,111,116,120,122,119,115,112,104,99,93,85,89,83,53,28,11,3,1,0,0,0,0,0,0,0,0,0,0,0,0,0,0,1,1,2,7,14,22,40,66,82,97,109,118,125,123,116,117,122,123,122,118,116,118,120,118,114,108,105,108,108,105,103,107,111,116,120,122,120,116,112,106,98,88,82,83,66,37,20,6,2,0,0,0,0,0,0,0,0,0,0,0,0,0,0,0,0,0,0,3,8,14,29,52,68,84,98,110,115,117,116,116,115,118,120,122,118,114,114,113,110,107,106,109,107,103,103,108,111,116,119,121,121,118,113,108,97,84,79,71,43,26,12,3,1,0,0,0,0,0,0,0,0,0,0,0,0,0,0,0,0,0,0,1,3,9,20,38,53,67,82,95,102,110,115,114,111,110,114,119,120,118,113,109,108,107,107,107,105,102,103,107,107,112,118,121,120,116,110,104,95,84,71,50,31,18,6,2,0,0,0,0,0,0,0,0,0,0,0,0,0,0,0,0,0,0,0,0,1,5,14,26,38,50,64,77,89,101,108,109,107,105,106,113,118,125,119,111,109,111,112,108,103,100,100,105,107,109,115,120,118,114,108,100,93,78,54,34,23,11,3,0,0,0,0,0,0,0,0,0,0,0,0,0,0,0,0,0,0,0,0,0,0,2,9,19,28,38,50,62,74,86,98,103,104,102,101,107,116,128,132,122,116,115,112,106,99,96,94,98,101,103,112,117,116,110,105,100,89,71,47,29,18,6,1,0,0,0,0,0,0,0,0,0,0,0,0,0,0,0,0,0,0,0,0,0,0,1,4,11,19,28,39,50,62,74,86,94,98,99,100,101,105,122,136,130,118,109,105,99,95,91,86,89,93,98,107,113,110,105,98,96,83,62,42,23,10,3,0,0,0,0,0,0,0,0,0,0,0,0,0,0,0,0,0,0,0,0,0,0,0,0,1,4,9,18,29,40,51,62,73,81,88,91,94,100,102,112,126,126,118,102,94,88,86,82,79,81,82,95,104,109,101,95,89,82,73,54,35,17,5,1,0,0,0,0,0,0,0,0,0,0,0,0,0,0,0,0,0,0,0,0,0,0,0,0,0,2,5,10,19,28,37,48,59,69,74,78,84,101,109,103,112,114,112,98,84,78,70,64,66,72,71,84,97,100,95,81,77,66,57,46,32,15,4,1,0,0,0,0,0,0,0,0,0,0,0,0,0,0,0,0,0,0,0,0,0,0,0,0,0,0,2,4,7,13,21,31,41,51,60,66,72,98,113,105,107,105,102,92,68,53,44,43,45,48,55,69,80,82,83,72,58,51,40,30,20,11,3,0,0,0,0,0,0,0,0,0,0,0,0,0,0,0,0,0,0,0,0,0,0,0,0,0,0,0,0,1,2,4,7,13,22,31,39,48,55,65,80,92,92,83,87,71,46,32,29,29,27,25,28,37,50,56,55,51,41,32,23,16,8,3,1,0,0,0,0,0,0,0,0,0,0,0,0,0,0,0,0,0,0,0,0,0,0,0,0,0,0,0,0,0,0,1,2,4,7,12,20,27,38,40,40,53,61,53,49,38,24,18,16,14,11,8,7,8,11,17,19,19,18,13,9,5,3,1,0,0,0,0,0,0,0,0,0,0,0,0,0,0,0,0,0,0,0,0,0,0,0,0,0,0,0,0,0,0,0,0,0,1,2,4,6,8,14,15,17,21,24,21,13,8,5,4,3,2,1,1,0,1,1,1,3,3,3,3,3,2,1,1,0,0,0,0,0,0,0,0,0,0,0,0,0,0,0,0,0,0,0,0,0,0,0,0,0,0,0,0,0,0,0,0,0,0,1,1,2,3,4,4,4,5,5,4,2,1,1,1,0,0,0,0,0,0,0,0,0,1,1,1,1,1,0,0,0,0,0,0,0,0,0,0,0,0,0,0,0,0,0,0,0,0,0,0,0,0,0,0,0,0,0,0,0,0,0,0,0,0,0,0,1,1,1,1,1,1,1,1,1,0,0,0,0,0,0,0,0,0,0,0,0,0,0,0,0,0,0,0,0,0,0,0,0,0,0,0,0,0,};
static const L3_Billboard smoke_billboard = {
.texture = smoke_texture,
.width = 64,
.height = 64,
.scale = 512,
.transparency_threshold = 70,
.transparency = 32,
};
static const L3_Object smoke = {
.transform.scale.x = L3_F,
.transform.scale.y = L3_F,
.transform.scale.z = L3_F,
.transform.scale.w = 0,
.transform.translation.x = 0,
.transform.translation.y = 0,
.transform.translation.z = 0,
.transform.translation.w = L3_F,
.transform.rotation.x = 0,
.transform.rotation.y = 0,
.transform.rotation.z = 0,
.transform.rotation.w = L3_F,
.billboard = &smoke_billboard,
.config.visible = L3_VISIBLE_BILLBOARD,
};
```

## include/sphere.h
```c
#pragma once
static const L3_Unit sphere_vertices[] = {
0,-256,0,
194,-114,134,
-74,-114,217,
-240,-114,0,
-74,-114,-217,
194,-114,-134,
74,114,217,
-194,114,134,
-194,114,-134,
74,114,-217,
240,114,0,
0,256,0,
-43,-217,127,
114,-217,79,
70,-134,207,
228,-134,0,
114,-217,-79,
-141,-217,0,
-185,-134,127,
-43,-217,-127,
-185,-134,-127,
70,-134,-207,
256,0,79,
256,0,-79,
0,0,256,
158,0,207,
-256,0,79,
-158,0,207,
-158,0,-207,
-256,0,-79,
158,0,-207,
0,0,-256,
185,134,127,
-70,134,207,
-228,134,0,
-70,134,-207,
185,134,-127,
43,217,127,
141,217,0,
-114,217,79,
-114,217,-79,
43,217,-127,
};
static const L3_Index sphere_indexes[] = {
0, 13, 12,
1, 13, 15,
0, 12, 17,
0, 17, 19,
0, 19, 16,
1, 15, 22,
2, 14, 24,
3, 18, 26,
4, 20, 28,
5, 21, 30,
1, 22, 25,
2, 24, 27,
3, 26, 29,
4, 28, 31,
5, 30, 23,
6, 32, 37,
7, 33, 39,
8, 34, 40,
9, 35, 41,
10, 36, 38,
38, 41, 11,
38, 36, 41,
36, 9, 41,
41, 40, 11,
41, 35, 40,
35, 8, 40,
40, 39, 11,
40, 34, 39,
34, 7, 39,
39, 37, 11,
39, 33, 37,
33, 6, 37,
37, 38, 11,
37, 32, 38,
32, 10, 38,
23, 36, 10,
23, 30, 36,
30, 9, 36,
31, 35, 9,
31, 28, 35,
28, 8, 35,
29, 34, 8,
29, 26, 34,
26, 7, 34,
27, 33, 7,
27, 24, 33,
24, 6, 33,
25, 32, 6,
25, 22, 32,
22, 10, 32,
30, 31, 9,
30, 21, 31,
21, 4, 31,
28, 29, 8,
28, 20, 29,
20, 3, 29,
26, 27, 7,
26, 18, 27,
18, 2, 27,
24, 25, 6,
24, 14, 25,
14, 1, 25,
22, 23, 10,
22, 15, 23,
15, 5, 23,
16, 21, 5,
16, 19, 21,
19, 4, 21,
19, 20, 4,
19, 17, 20,
17, 3, 20,
17, 18, 3,
17, 12, 18,
12, 2, 18,
15, 16, 5,
15, 13, 16,
13, 0, 16,
12, 14, 2,
12, 13, 14,
13, 1, 14,
};
static const L3_Model3D sphere_model = {
.vertices = sphere_vertices,
.triangleCount = 80,
.vertexCount = 42,
.triangles = sphere_indexes,
};
static const L3_Object sphere = {
.transform.scale.x = L3_F,
.transform.scale.y = L3_F,
.transform.scale.z = L3_F,
.transform.scale.w = 0,
.transform.translation.x = 0,
.transform.translation.y = 0,
.transform.translation.z = 0,
.transform.translation.w = L3_F,
.transform.rotation.x = 0,
.transform.rotation.y = 0,
.transform.rotation.z = 0,
.transform.rotation.w = L3_F,
.config.backfaceCulling = 0,
.config.visible = L3_VISIBLE_WIREFRAME,
.model = &sphere_model,
};
```
